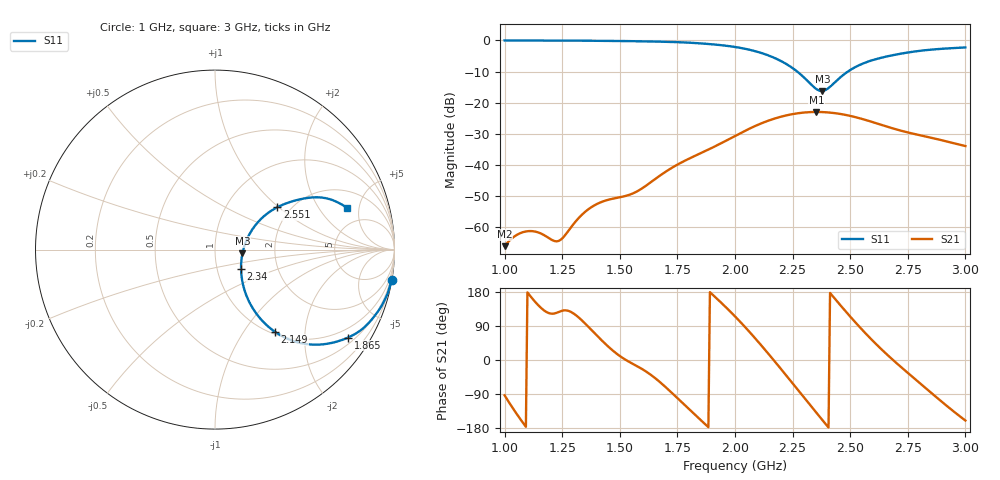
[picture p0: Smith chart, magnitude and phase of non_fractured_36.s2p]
! TOUCHSTONE file generated by CST MICROWAVE STUDIO
! Date and time: Sat Mar  8 13:54:10 2025
! Project name: non_fractured.cst
! Parameters = {B=2.5; D=160; F=15; Feed=2.85625; L=100; M=5; R=0.384908; S=1; Theta=270; length=57.125; wave=114.25}
! Header version: 2024
! Port assignment regex: !\s*Touchstone port\s*([0-9]+)\s*=\s*(CST MWS port|CST DES external port|CST DES block port)\s*(.+)\s* \(\"(.*)\"\)(\s*mode\s*([0-9]+))?.*
! Touchstone port assignment:
! Touchstone port 1 = CST MWS port 1 ("")
! Touchstone port 2 = CST MWS port 2 ("")
# GHz S DB R 50
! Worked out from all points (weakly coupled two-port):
!   304 points, 1 GHz to 3 GHz, reference 50 ohm
!   highest |S21| = -22.95 dB at 2.353 GHz (marker M1); lowest = -66.0 dB at 1 GHz (marker M2)
!   lowest |S11| = -16.2 dB at 2.38 GHz (marker M3), VSWR 1.37, Z = 68 - j2.96 ohm
!   |S11| at or under -10 dB: 2.27 GHz to 2.49 GHz (219.7 MHz wide, 9.23 % of centre)
!   S12 and S22 are empty: the file has one direction only
!   S11 on the Smith chart (normalised r, x): 1 GHz: 0, -12; 1.865 GHz: 0.69, -3.19; 2.149 GHz: 1.04, -1.40; 2.34 GHz: 1.30, -0.30; 2.551 GHz: 1.71, +0.98; 3 GHz: 3.24, +3.73
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1  -0.02 -9.8  -66.00 -93.2  -200.00 0.0  -200.00 0.0
1.0462  -0.02 -10.4  -62.69 -136.8  -200.00 0.0  -200.00 0.0
1.09901  -0.03 -11.1  -61.20 178.5  -200.00 0.0  -200.00 0.0
1.13861  -0.04 -11.7  -61.42 149.3  -200.00 0.0  -200.00 0.0
1.21122  -0.05 -12.9  -64.21 122.3  -200.00 0.0  -200.00 0.0
1.23762  -0.05 -13.4  -64.20 127.5  -200.00 0.0  -200.00 0.0
1.33663  -0.09 -15.3  -55.83 103.9  -200.00 0.0  -200.00 0.0
1.41584  -0.13 -16.9  -51.96 55.3  -200.00 0.0  -200.00 0.0
1.56766  -0.26 -20.9  -48.70 -13.9  -200.00 0.0  -200.00 0.0
1.66667  -0.39 -24.1  -43.76 -54.4  -200.00 0.0  -200.00 0.0
1.86469  -1.03 -33.5  -35.71 -166.2  -200.00 0.0  -200.00 0.0
2.0033  -2.14 -42.7  -30.52 113.1  -200.00 0.0  -200.00 0.0
2.14851  -4.92 -53.9  -25.65 13.8  -200.00 0.0  -200.00 0.0
2.24752  -8.75 -57.1  -23.67 -59.6  -200.00 0.0  -200.00 0.0
2.33993  -14.79 -37.1  -22.96 -129.2  -200.00 0.0  -200.00 0.0
2.35314  -15.59 -28.8  -22.95 -139.1  -200.00 0.0  -200.00 0.0
2.37954  -16.23 -7.9  -22.99 -158.7  -200.00 0.0  -200.00 0.0
2.46535  -11.35 31.7  -23.69 138.9  -200.00 0.0  -200.00 0.0
2.55116  -7.55 34.2  -25.18 80.3  -200.00 0.0  -200.00 0.0
2.66997  -4.97 30.1  -27.89 8.7  -200.00 0.0  -200.00 0.0
2.84158  -3.03 23.2  -31.06 -81.5  -200.00 0.0  -200.00 0.0
3  -2.26 17.7  -33.89 -159.7  -200.00 0.0  -200.00 0.0
